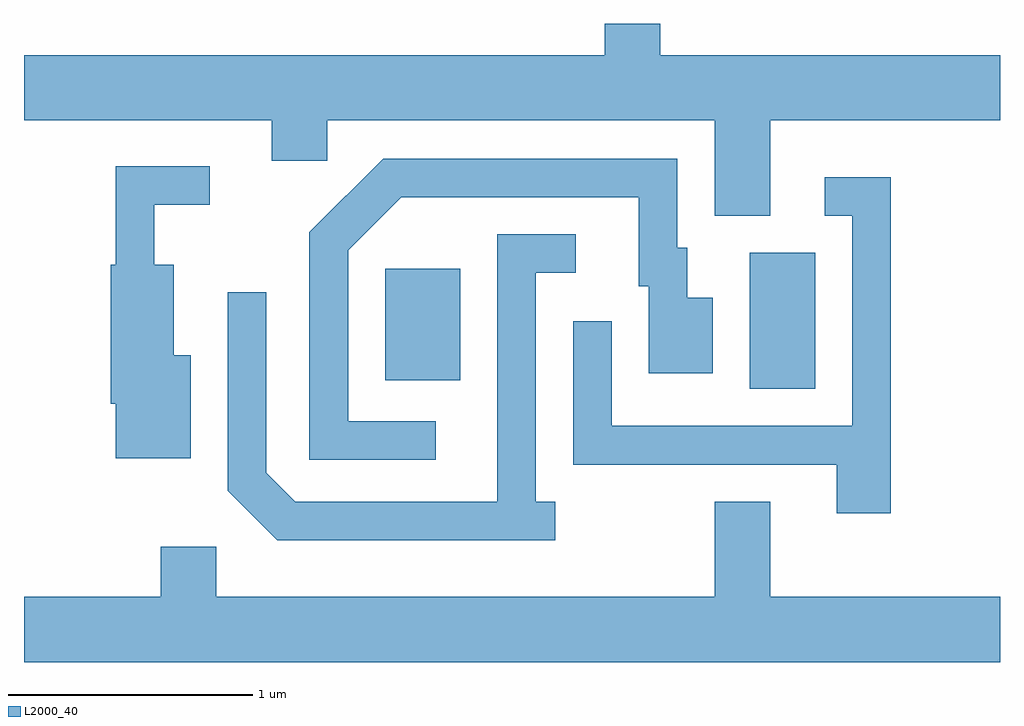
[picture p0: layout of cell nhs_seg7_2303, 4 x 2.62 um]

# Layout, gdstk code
import gdstk
lib = gdstk.Library(unit=1e-6, precision=1e-09)
def R(c, l, rs):  # rectangles x0, y0, x1, y1
    for r in rs: c.add(gdstk.rectangle(r[:2], r[2:], *l))
def P(c, l, *ps):  # polygons
    for p in ps: c.add(gdstk.Polygon(p, *l))
L2000_40 = (2000, 40)

nhs_seg7_2303 = lib.new_cell('nhs_seg7_2303')
R(nhs_seg7_2303, L2000_40, [(258.586,1728.756,258.854,1729.314), (257.091,1728.791,257.399,1729.249)])
P(nhs_seg7_2303, L2000_40, [(258.669,1729.856),(259.611,1729.856),(259.611,1730.124),(258.219,1730.124),(258.219,1730.252),(257.991,1730.252),(257.991,1730.124),(255.611,1730.124),(255.611,1729.856),(256.626,1729.856),(256.626,1729.691),(256.854,1729.691),(256.854,1729.856),(258.441,1729.856),(258.441,1729.466),(258.669,1729.466)],
  [(257.298,1728.624),(256.939,1728.624),(256.939,1729.324),(257.157,1729.541),(258.131,1729.541),(258.131,1729.176),(258.171,1729.176),(258.171,1728.821),(258.434,1728.821),(258.434,1729.129),(258.329,1729.129),(258.329,1729.334),(258.289,1729.334),(258.289,1729.699),(257.084,1729.699),(256.781,1729.397),(256.781,1728.466),(257.298,1728.466)],
  [(256.294,1728.894),(256.224,1728.894),(256.224,1729.264),(256.144,1729.264),(256.144,1729.511),(256.373,1729.511),(256.373,1729.669),(255.986,1729.669),(255.986,1729.264),(255.966,1729.264),(255.966,1728.696),(255.986,1728.696),(255.986,1728.471),(256.294,1728.471)],
  [(259.164,1729.624),(258.892,1729.624),(258.892,1729.466),(259.006,1729.466),(259.006,1728.604),(258.019,1728.604),(258.019,1729.033),(257.861,1729.033),(257.861,1728.446),(258.941,1728.446),(258.941,1728.246),(259.164,1728.246)],
  [(257.788,1728.294),(257.709,1728.294),(257.709,1729.231),(257.873,1729.231),(257.873,1729.389),(257.551,1729.389),(257.551,1728.294),(256.722,1728.294),(256.604,1728.412),(256.604,1729.153),(256.446,1729.153),(256.446,1728.339),(256.649,1728.136),(257.788,1728.136)],
  [(259.611,1727.904),(258.669,1727.904),(258.669,1728.294),(258.441,1728.294),(258.441,1727.904),(256.399,1727.904),(256.399,1728.109),(256.171,1728.109),(256.171,1727.904),(255.611,1727.904),(255.611,1727.636),(259.611,1727.636)])

lib.write_gds('nhs_seg7_2303.gds')
